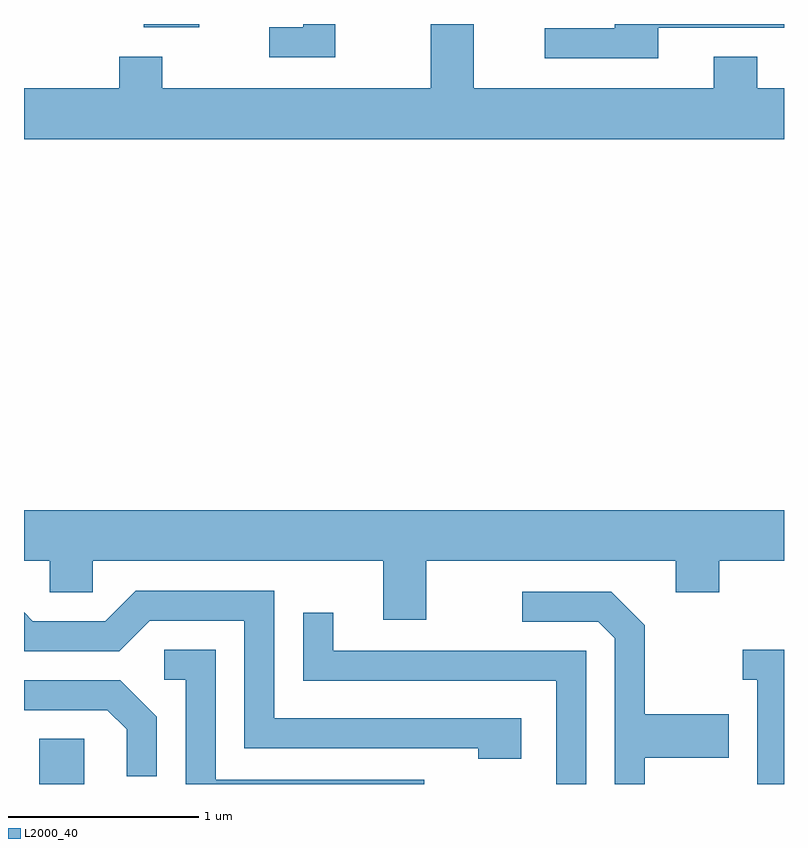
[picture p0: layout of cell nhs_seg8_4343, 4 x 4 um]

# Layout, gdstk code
import gdstk
lib = gdstk.Library(unit=1e-6, precision=1e-09)
def R(c, l, rs):  # rectangles x0, y0, x1, y1
    for r in rs: c.add(gdstk.rectangle(r[:2], r[2:], *l))
def P(c, l, *ps):  # polygons
    for p in ps: c.add(gdstk.Polygon(p, *l))
L2000_40 = (2000, 40)

nhs_seg8_4343 = lib.new_cell('nhs_seg8_4343')
R(nhs_seg8_4343, L2000_40, [(315.691,1846.342,315.929,1846.579), (316.241,1850.326,316.534,1850.342)])
P(nhs_seg8_4343, L2000_40, [(319.611,1850.004),(319.469,1850.004),(319.469,1850.169),(319.241,1850.169),(319.241,1850.004),(317.979,1850.004),(317.979,1850.342),(317.751,1850.342),(317.751,1850.004),(316.339,1850.004),(316.339,1850.169),(316.111,1850.169),(316.111,1850.004),(315.611,1850.004),(315.611,1849.736),(319.611,1849.736)],
  [(317.249,1850.342),(317.081,1850.342),(317.081,1850.324),(316.903,1850.324),(316.903,1850.166),(317.249,1850.166)],
  [(318.949,1850.321),(319.611,1850.321),(319.611,1850.342),(318.721,1850.342),(318.721,1850.319),(318.353,1850.319),(318.353,1850.161),(318.949,1850.161)],
  [(317.729,1847.516),(319.041,1847.516),(319.041,1847.351),(319.269,1847.351),(319.269,1847.516),(319.611,1847.516),(319.611,1847.784),(315.611,1847.784),(315.611,1847.516),(315.746,1847.516),(315.746,1847.351),(315.974,1847.351),(315.974,1847.516),(317.501,1847.516),(317.501,1847.206),(317.729,1847.206)],
  [(318.229,1846.689),(316.929,1846.689),(316.929,1847.359),(316.199,1847.359),(316.039,1847.199),(315.657,1847.199),(315.611,1847.245),(315.611,1847.041),(316.112,1847.041),(316.272,1847.201),(316.771,1847.201),(316.771,1846.531),(318.001,1846.531),(318.001,1846.476),(318.229,1846.476)],
  [(318.879,1846.481),(319.319,1846.481),(319.319,1846.709),(318.879,1846.709),(318.879,1847.177),(318.702,1847.354),(318.233,1847.354),(318.233,1847.196),(318.634,1847.196),(318.721,1847.109),(318.721,1846.342),(318.879,1846.342)],
  [(318.569,1847.044),(317.239,1847.044),(317.239,1847.243),(317.081,1847.243),(317.081,1846.886),(318.411,1846.886),(318.411,1846.342),(318.569,1846.342)],
  [(319.611,1847.049),(319.393,1847.049),(319.393,1846.891),(319.471,1846.891),(319.471,1846.342),(319.611,1846.342)],
  [(317.718,1846.364),(316.619,1846.364),(316.619,1847.049),(316.348,1847.049),(316.348,1846.891),(316.461,1846.891),(316.461,1846.342),(317.718,1846.342)],
  [(316.309,1846.697),(316.117,1846.889),(315.611,1846.889),(315.611,1846.731),(316.049,1846.731),(316.151,1846.629),(316.151,1846.383),(316.309,1846.383)])

lib.write_gds('nhs_seg8_4343.gds')
